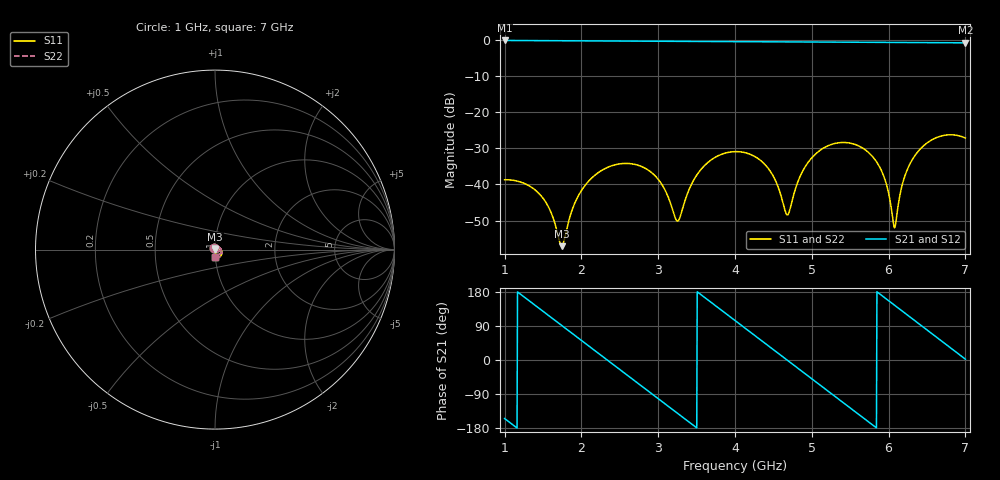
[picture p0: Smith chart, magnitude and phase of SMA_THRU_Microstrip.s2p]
! TOUCHSTONE file generated by CST MICROWAVE STUDIO
! Date and time: Mon May 25 13:26:51 2026
! Project name: SMA_Coupon5.cst
! Header version: 2024
! Port assignment regex: !\s*Touchstone port\s*([0-9]+)\s*=\s*(CST MWS port|CST DES external port|CST DES block port)\s*(.+)\s* \(\"(.*)\"\)(\s*mode\s*([0-9]+))?.*
! Touchstone port assignment:
! Touchstone port 1 = CST MWS port 1 ("")
! Touchstone port 2 = CST MWS port 2 ("")
# GHz S MA R 50
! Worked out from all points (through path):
!   1001 points, 1 GHz to 7 GHz, reference 50 ohm
!   highest |S21| = -0.16 dB at 1 GHz (marker M1); lowest = -0.8 dB at 7 GHz (marker M2)
!   group delay of S21, straight-line fit = 427 ps
!   lowest |S11| = -57.1 dB at 1.744 GHz (marker M3), VSWR 1.00, Z = 50 + j0.14 ohm
!   |S11| at or under -10 dB: start of sweep to end of sweep
!   |S22| runs from -57.1 to -26.2 dB; largest |S21 - S12| = 6.8e-06
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1  0.01163 121.0  0.9814 -154.5  0.9814 -154.5  0.01162 121.0
1.336  0.009355 68.9  0.9767 153.7  0.9767 153.7  0.009354 68.9
1.558  0.005195 42.1  0.9737 119.6  0.9737 119.6  0.005194 42.2
1.744  0.001402 89.1  0.9712 91.0  0.9712 91.0  0.001404 89.2
2.002  0.008285 130.3  0.968 51.3  0.968 51.3  0.008284 130.3
2.236  0.015 100.0  0.9651 15.4  0.9651 15.4  0.015 100.0
2.452  0.01888 69.9  0.9625 -17.8  0.9625 -17.8  0.01887 69.9
2.746  0.01834 29.5  0.9592 -63.0  0.9592 -63.0  0.01833 29.5
3.004  0.01164 -1.7  0.9565 -102.6  0.9565 -102.6  0.01164 -1.6
3.25  0.00311 35.6  0.9541 -140.4  0.9541 -140.4  0.003127 35.7
3.502  0.01349 76.7  0.9514 -179.2  0.9514 -179.2  0.0135 76.6
4  0.02847 11.9  0.9457 104.3  0.9457 104.3  0.02846 12.0
4.408  0.018 -41.3  0.9416 41.6  0.9416 41.6  0.018 -41.1
4.678  0.003795 -6.7  0.9391 0.1  0.9391 0.1  0.003839 -6.5
5.002  0.0235 29.9  0.9355 -49.8  0.9355 -49.8  0.02351 29.9
5.428  0.03807 -29.6  0.9295 -115.4  0.9295 -115.4  0.03807 -29.5
5.794  0.02411 -81.0  0.9251 -171.7  0.9251 -171.7  0.0241 -80.8
6.004  0.007286 -97.6  0.9231 155.9  0.9231 155.9  0.007298 -97.0
6.082  0.002542 -29.4  0.9223 143.9  0.9223 143.9  0.002624 -29.3
6.232  0.015 19.2  0.9207 120.8  0.9207 120.8  0.01503 18.9
6.478  0.03594 -11.7  0.9176 82.8  0.9176 82.8  0.03596 -11.8
7  0.04384 -89.7  0.91 2.2  0.91 2.2  0.04385 -89.6
